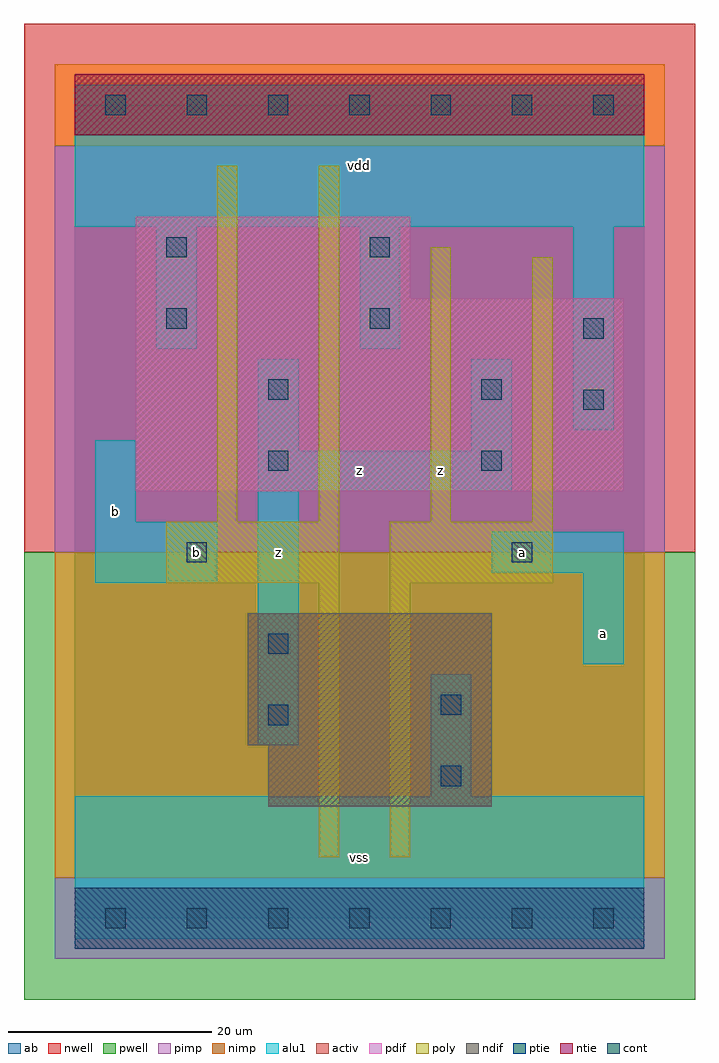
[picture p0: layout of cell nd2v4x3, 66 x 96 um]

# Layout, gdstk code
import gdstk
lib = gdstk.Library(unit=1e-6, precision=1e-09)
def R(c, l, rs):  # rectangles x0, y0, x1, y1
    for r in rs: c.add(gdstk.rectangle(r[:2], r[2:], *l))
def A(c, l, x, y, w, h, nx, ny, dx, dy):  # array of equal rectangles
    R(c, l, [(x+i*dx, y+j*dy, x+i*dx+w, y+j*dy+h) for i in range(nx) for j in range(ny)])
ndif = (3, 0)
pdif = (4, 0)
ntie = (5, 0)
ptie = (6, 0)
cont = (25, 0)
pwell = (41, 0)
nwell = (42, 0)
activ = (43, 0)
pimp = (44, 0)
nimp = (45, 0)
poly = (46, 0)
alu1 = (49, 0)
ab = (63, 0)

nd2v4x3 = lib.new_cell('nd2v4x3')
R(nd2v4x3, ndif, [(19,11,41,17), (17,17,41,30)])
R(nd2v4x3, pdif, [(6,42,54,61), (6,61,33,69)])
R(nd2v4x3, ntie, [(0,77,56,83)])
R(nd2v4x3, ptie, [(0,-3,56,3)])
A(nd2v4x3, cont, 3, -1, 2, 2, 7, 2, 8, 80)
R(nd2v4x3, cont, [(36,13,38,15), (19,19,21,21), (36,20,38,22), (19,26,21,28), (11,35,13,37), (43,35,45,37), (19,44,21,46), (40,44,42,46), (50,50,52,52), (19,51,21,53), (40,51,42,53), (50,57,52,59), (9,58,11,60), (29,58,31,60), (9,65,11,67), (29,65,31,67)])
R(nd2v4x3, pwell, [(-5,-8,61,36)])
R(nd2v4x3, nwell, [(-5,36,61,88)])
R(nd2v4x3, activ, [(0,-3,56,3), (19,11,41,17), (17,17,41,30), (6,42,54,61), (6,61,33,69), (0,77,56,83)])
R(nd2v4x3, pimp, [(-2,-4,58,4), (-2,36,58,76)])
R(nd2v4x3, nimp, [(-2,4,58,36), (-2,76,58,84)])
R(nd2v4x3, poly, [(24,6,26,33), (31,6,33,33), (9,33,26,39), (31,33,47,39), (14,39,16,74), (24,39,26,74), (35,39,37,66), (45,39,47,65)])
R(nd2v4x3, alu1, [(0,-2,56,12), (35,12,39,24), (18,17,22,42), (50,25,54,34), (2,33,14,39), (41,34,54,38), (2,39,6,47), (18,42,43,46), (18,46,22,55), (39,46,43,55), (49,48,53,68), (8,56,12,68), (28,56,32,68), (0,68,56,82)])
R(nd2v4x3, ab, [(0,0,56,80)])
nd2v4x3.add(gdstk.Label('b', (4,40), layer=49, texttype=0))
nd2v4x3.add(gdstk.Label('b', (12,36), layer=49, texttype=0))
nd2v4x3.add(gdstk.Label('z', (20,36), layer=49, texttype=0))
nd2v4x3.add(gdstk.Label('vss', (28,6), layer=49, texttype=0))
nd2v4x3.add(gdstk.Label('z', (36,44), layer=49, texttype=0))
nd2v4x3.add(gdstk.Label('z', (28,44), layer=49, texttype=0))
nd2v4x3.add(gdstk.Label('vdd', (28,74), layer=49, texttype=0))
nd2v4x3.add(gdstk.Label('a', (44,36), layer=49, texttype=0))
nd2v4x3.add(gdstk.Label('a', (52,28), layer=49, texttype=0))

lib.write_gds('nd2v4x3.gds')
